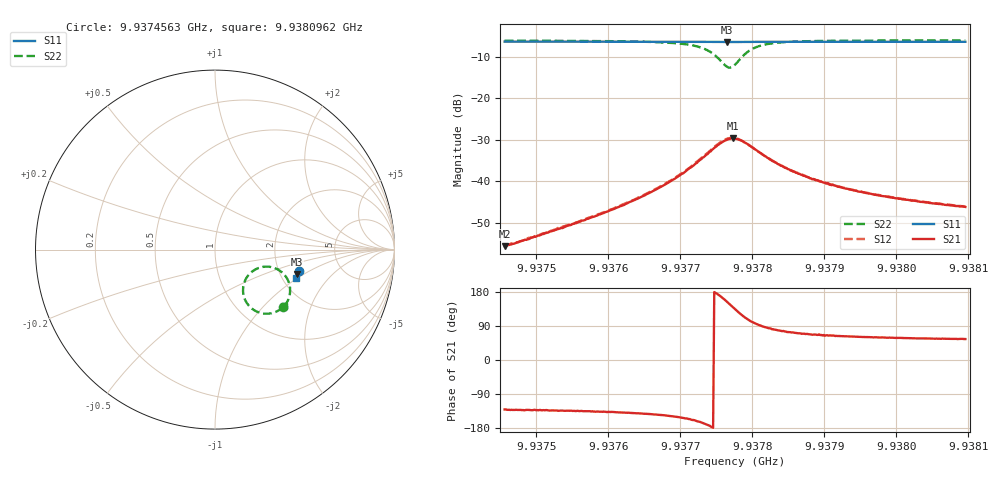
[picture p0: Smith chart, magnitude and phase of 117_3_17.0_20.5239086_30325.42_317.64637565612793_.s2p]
#  HZ  S  RI  R  50.00
! Rohde & Schwarz Vector Network Analyzer
! Rohde-Schwarz,ZNB20-2Port,1311601062101988,3.16
! Created: UTC 3/20/2024, 10:57:17 PM
! freq[Hz]  re:S11  im:S11  re:S21  im:S21  re:S12  im:S12  re:S22  im:S22
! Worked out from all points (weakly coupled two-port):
!   401 points, 9.9374563 GHz to 9.9380962 GHz, reference 50 ohm
!   highest |S21| = -29.67 dB at 9.9377731 GHz (marker M1); lowest = -55.7 dB at 9.9374563 GHz (marker M2)
!   lowest |S11| = -6.4 dB at 9.9377651 GHz (marker M3), VSWR 2.83, Z = 124 - j43.4 ohm
!   |S11| at or under -10 dB: nowhere
!   |S22| runs from -12.6 to -6.0 dB; largest |S21 - S12| = 0.0016
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9.93745632e9  0.4685 -0.1165  -0.00107 -0.00125  -0.00112 -0.00122  0.3774 -0.3223
9.93748351e9  0.468 -0.1184  -0.00132 -0.00143  -0.00133 -0.00142  0.374 -0.3252
9.9375635e9  0.4659 -0.1238  -0.00234 -0.00239  -0.00242 -0.00234  0.3608 -0.3351
9.93762109e9  0.4647 -0.1278  -0.00388 -0.00338  -0.00401 -0.00342  0.3442 -0.3444
9.93767068e9  0.4632 -0.1312  -0.00678 -0.00481  -0.00697 -0.00478  0.3169 -0.3539
9.93770267e9  0.462 -0.1336  -0.0109 -0.00572  -0.0112 -0.00568  0.281 -0.357
9.93772986e9  0.4604 -0.1353  -0.0179 -0.00484  -0.0186 -0.00458  0.2232 -0.3406
9.93774746e9  0.4592 -0.136  -0.0252 0.00032  -0.0258 0.000955  0.1721 -0.2885
9.93775706e9  0.4586 -0.1359  -0.0282 0.00667  -0.029 0.00796  0.1562 -0.2317
9.93776506e9  0.4579 -0.1356  -0.0285 0.0139  -0.0286 0.0153  0.1675 -0.1729
9.93776986e9  0.4581 -0.1356  -0.0267 0.0186  -0.0265 0.02  0.1883 -0.1398
9.93777306e9  0.4582 -0.1353  -0.025 0.0213  -0.0245 0.0225  0.2078 -0.1217
9.93777626e9  0.4582 -0.1352  -0.0226 0.0233  -0.022 0.0247  0.2297 -0.1081
9.93778425e9  0.4588 -0.1352  -0.016 0.0268  -0.015 0.0276  0.2887 -0.0947
9.93779385e9  0.4594 -0.1356  -0.00836 0.0267  -0.00741 0.0271  0.3465 -0.1088
9.93781145e9  0.46 -0.137  -0.000464 0.0219  0.00028 0.0219  0.4005 -0.1591
9.93784184e9  0.46 -0.1399  0.00366 0.0148  0.00396 0.0147  0.4188 -0.2221
9.93788344e9  0.4592 -0.1431  0.00419 0.00966  0.0043 0.00977  0.4135 -0.2629
9.93793143e9  0.4581 -0.1466  0.00376 0.0072  0.00396 0.00717  0.4051 -0.2857
9.93799062e9  0.4566 -0.1505  0.0033 0.00551  0.00348 0.0055  0.3964 -0.3011
9.93804021e9  0.4552 -0.1538  0.00307 0.00467  0.00312 0.00464  0.3904 -0.3096
9.9380962e9  0.4537 -0.1574  0.00279 0.00402  0.0029 0.00404  0.385 -0.3169
